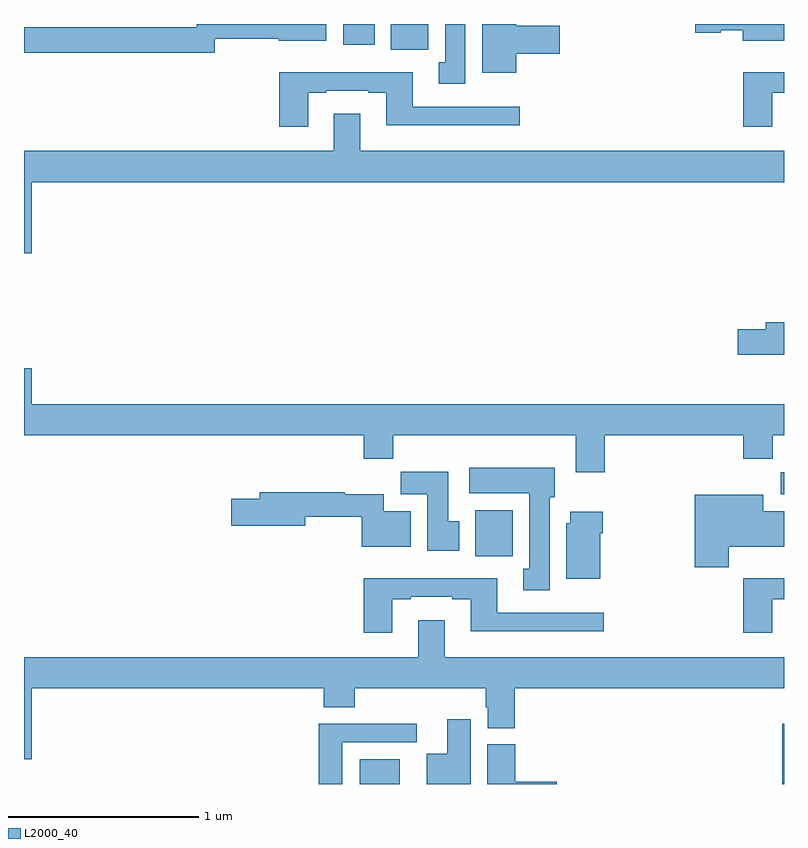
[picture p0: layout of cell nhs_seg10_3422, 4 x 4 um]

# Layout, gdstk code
import gdstk
lib = gdstk.Library(unit=1e-6, precision=1e-09)
def R(c, l, rs):  # rectangles x0, y0, x1, y1
    for r in rs: c.add(gdstk.rectangle(r[:2], r[2:], *l))
def P(c, l, *ps):  # polygons
    for p in ps: c.add(gdstk.Polygon(p, *l))
L2000_40 = (2000, 40)

nhs_seg10_3422 = lib.new_cell('nhs_seg10_3422')
R(nhs_seg10_3422, L2000_40, [(298.766,1278.5,298.978,1278.631), (300.992,1278.5,301,1278.818), (299.375,1279.7,299.572,1279.942), (300.982,1280.024,301,1280.142), (298.931,1282.364,299.128,1282.5), (298.679,1282.392,298.846,1282.5)])
P(nhs_seg10_3422, L2000_40, [(299.323,1282.5),(299.216,1282.5),(299.216,1282.298),(299.183,1282.298),(299.183,1282.185),(299.323,1282.185)],
  [(299.59,1282.343),(299.821,1282.343),(299.821,1282.49),(299.59,1282.49),(299.59,1282.5),(299.411,1282.5),(299.411,1282.244),(299.59,1282.244)],
  [(298.005,1282.423),(298.34,1282.423),(298.34,1282.412),(298.591,1282.412),(298.591,1282.5),(297.909,1282.5),(297.909,1282.484),(297,1282.484),(297,1282.348),(298.005,1282.348)],
  [(301,1282.5),(300.534,1282.5),(300.534,1282.454),(300.666,1282.454),(300.666,1282.466),(300.782,1282.466),(300.782,1282.412),(301,1282.412)],
  [(298.495,1282.137),(298.591,1282.137),(298.591,1282.149),(298.811,1282.149),(298.811,1282.137),(298.907,1282.137),(298.907,1281.968),(299.608,1281.968),(299.608,1282.065),(299.047,1282.065),(299.047,1282.246),(298.343,1282.246),(298.343,1281.96),(298.495,1281.96)],
  [(300.937,1282.137),(301,1282.137),(301,1282.246),(300.785,1282.246),(300.785,1281.96),(300.937,1281.96)],
  [(297.04,1281.668),(301,1281.668),(301,1281.832),(298.771,1281.832),(298.771,1282.027),(298.631,1282.027),(298.631,1281.832),(297,1281.832),(297,1281.294),(297.04,1281.294)],
  [(301,1280.93),(300.905,1280.93),(300.905,1280.894),(300.756,1280.894),(300.756,1280.759),(301,1280.759)],
  [(300.056,1280.336),(300.785,1280.336),(300.785,1280.212),(300.941,1280.212),(300.941,1280.336),(301,1280.336),(301,1280.5),(297.04,1280.5),(297.04,1280.689),(297,1280.689),(297,1280.336),(298.787,1280.336),(298.787,1280.212),(298.943,1280.212),(298.943,1280.336),(299.903,1280.336),(299.903,1280.142),(300.056,1280.142)],
  [(299.767,1280.01),(299.794,1280.01),(299.794,1280.164),(299.343,1280.164),(299.343,1280.03),(299.66,1280.03),(299.66,1279.634),(299.627,1279.634),(299.627,1279.521),(299.767,1279.521)],
  [(299.29,1279.884),(299.233,1279.884),(299.233,1280.143),(298.984,1280.143),(298.984,1280.024),(299.123,1280.024),(299.123,1279.728),(299.29,1279.728)],
  [(299.035,1279.936),(298.894,1279.936),(298.894,1280.024),(298.688,1280.024),(298.688,1280.035),(298.241,1280.035),(298.241,1280.001),(298.092,1280.001),(298.092,1279.859),(298.48,1279.859),(298.48,1279.906),(298.777,1279.906),(298.777,1279.748),(299.035,1279.748)],
  [(300.708,1279.748),(301,1279.748),(301,1279.936),(300.892,1279.936),(300.892,1280.023),(300.53,1280.023),(300.53,1279.641),(300.708,1279.641)],
  [(300.034,1279.82),(300.047,1279.82),(300.047,1279.933),(299.876,1279.933),(299.876,1279.872),(299.855,1279.872),(299.855,1279.58),(300.034,1279.58)],
  [(300.937,1279.473),(301,1279.473),(301,1279.582),(300.785,1279.582),(300.785,1279.296),(300.937,1279.296)],
  [(298.939,1279.473),(299.035,1279.473),(299.035,1279.485),(299.255,1279.485),(299.255,1279.473),(299.351,1279.473),(299.351,1279.304),(300.052,1279.304),(300.052,1279.401),(299.491,1279.401),(299.491,1279.582),(298.787,1279.582),(298.787,1279.296),(298.939,1279.296)],
  [(297.04,1279.004),(298.577,1279.004),(298.577,1278.905),(298.742,1278.905),(298.742,1279.004),(299.429,1279.004),(299.429,1278.903),(299.441,1278.903),(299.441,1278.793),(299.582,1278.793),(299.582,1279.004),(301,1279.004),(301,1279.168),(299.215,1279.168),(299.215,1279.363),(299.075,1279.363),(299.075,1279.168),(297,1279.168),(297,1278.63),(297.04,1278.63)],
  [(299.35,1278.841),(299.228,1278.841),(299.228,1278.658),(299.12,1278.658),(299.12,1278.5),(299.35,1278.5)],
  [(298.675,1278.72),(299.068,1278.72),(299.068,1278.818),(298.55,1278.818),(298.55,1278.5),(298.675,1278.5)],
  [(299.803,1278.512),(299.585,1278.512),(299.585,1278.708),(299.438,1278.708),(299.438,1278.5),(299.803,1278.5)])

lib.write_gds('nhs_seg10_3422.gds')
